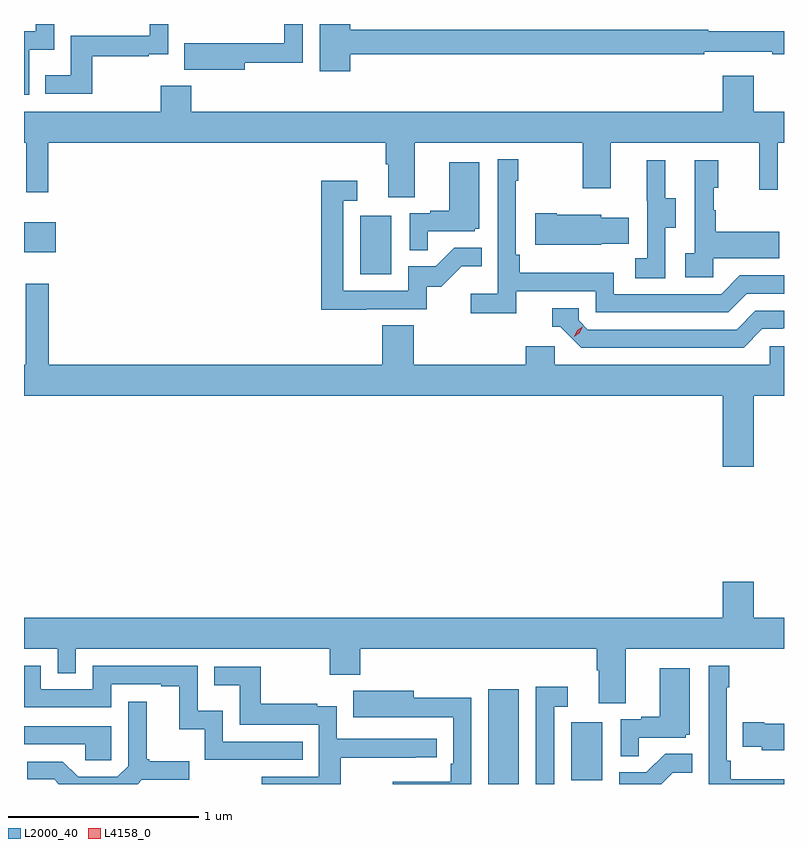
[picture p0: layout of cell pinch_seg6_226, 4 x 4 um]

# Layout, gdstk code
import gdstk
lib = gdstk.Library(unit=1e-6, precision=1e-09)
def R(c, l, rs):  # rectangles x0, y0, x1, y1
    for r in rs: c.add(gdstk.rectangle(r[:2], r[2:], *l))
def P(c, l, *ps):  # polygons
    for p in ps: c.add(gdstk.Polygon(p, *l))
L2000_40 = (2000, 40)
L4158_0 = (4158, 0)

pinch_seg6_226 = lib.new_cell('pinch_seg6_226')
R(pinch_seg6_226, L2000_40, [(1110.827,927.977,1110.988,928.477), (1111.262,927.996,1111.426,928.303), (1110.152,930.66,1110.316,930.967), (1108.383,930.776,1108.549,930.934)])
P(pinch_seg6_226, L2000_40, [(1109.545,931.774),(1109.85,931.774),(1109.85,931.977),(1109.754,931.977),(1109.754,931.875),(1109.441,931.875),(1109.441,931.876),(1109.227,931.876),(1109.227,931.736),(1109.545,931.736)],
  [(1108.41,931.841),(1108.542,931.841),(1108.542,931.977),(1108.446,931.977),(1108.446,931.939),(1108.383,931.939),(1108.383,931.605),(1108.41,931.605)],
  [(1108.741,931.806),(1109.039,931.806),(1109.039,931.817),(1109.142,931.817),(1109.142,931.977),(1109.046,931.977),(1109.046,931.914),(1108.63,931.914),(1108.63,931.708),(1108.495,931.708),(1108.495,931.611),(1108.741,931.611)],
  [(1110.1,931.818),(1111.964,931.818),(1111.964,931.83),(1112.32,931.83),(1112.32,931.818),(1112.383,931.818),(1112.383,931.939),(1111.985,931.939),(1111.985,931.946),(1110.1,931.946),(1110.1,931.977),(1109.939,931.977),(1109.939,931.728),(1110.1,931.728)],
  [(1110.439,931.352),(1111.324,931.352),(1111.324,931.113),(1111.471,931.113),(1111.471,931.352),(1112.252,931.352),(1112.252,931.104),(1112.349,931.104),(1112.349,931.352),(1112.383,931.352),(1112.383,931.516),(1112.224,931.516),(1112.224,931.705),(1112.06,931.705),(1112.06,931.516),(1109.264,931.516),(1109.264,931.651),(1109.104,931.651),(1109.104,931.516),(1108.383,931.516),(1108.383,931.352),(1108.395,931.352),(1108.395,931.092),(1108.511,931.092),(1108.511,931.352),(1110.287,931.352),(1110.287,931.24),(1110.299,931.24),(1110.299,931.066),(1110.439,931.066)],
  [(1110.974,930.57),(1111.392,930.57),(1111.392,930.459),(1112.089,930.459),(1112.188,930.558),(1112.383,930.558),(1112.383,930.654),(1112.151,930.654),(1112.052,930.555),(1111.488,930.555),(1111.488,930.667),(1110.992,930.667),(1110.992,930.763),(1110.972,930.763),(1110.972,931.151),(1110.985,931.151),(1110.985,931.264),(1110.876,931.264),(1110.876,930.556),(1110.735,930.556),(1110.735,930.454),(1110.974,930.454)],
  [(1112.01,930.743),(1112.357,930.743),(1112.357,930.883),(1112.023,930.883),(1112.023,930.998),(1112.013,930.998),(1112.013,931.116),(1112.038,931.116),(1112.038,931.261),(1111.914,931.261),(1111.914,930.77),(1111.863,930.77),(1111.863,930.645),(1112.01,930.645)],
  [(1111.758,930.904),(1111.813,930.904),(1111.813,931.059),(1111.759,931.059),(1111.759,931.261),(1111.661,931.261),(1111.661,931.047),(1111.662,931.047),(1111.662,930.743),(1111.599,930.743),(1111.599,930.64),(1111.758,930.64)],
  [(1110.509,930.885),(1110.756,930.885),(1110.756,930.9),(1110.778,930.9),(1110.778,931.249),(1110.62,931.249),(1110.62,930.994),(1110.521,930.994),(1110.521,930.981),(1110.414,930.981),(1110.414,930.787),(1110.509,930.787)],
  [(1110.185,930.477),(1110.504,930.477),(1110.504,930.594),(1110.58,930.594),(1110.687,930.701),(1110.791,930.701),(1110.791,930.8),(1110.647,930.8),(1110.549,930.702),(1110.405,930.702),(1110.405,930.573),(1110.063,930.573),(1110.063,931.047),(1110.136,931.047),(1110.136,931.153),(1109.947,931.153),(1109.947,930.472),(1110.185,930.472)],
  [(1111.422,930.821),(1111.565,930.821),(1111.565,930.958),(1111.422,930.958),(1111.422,930.973),(1111.186,930.973),(1111.186,930.981),(1111.074,930.981),(1111.074,930.815),(1111.422,930.815)],
  [(1112.224,930.02),(1112.383,930.02),(1112.383,930.282),(1112.307,930.282),(1112.307,930.184),(1111.176,930.184),(1111.176,930.282),(1111.025,930.282),(1111.025,930.184),(1110.434,930.184),(1110.434,930.392),(1110.269,930.392),(1110.269,930.184),(1108.514,930.184),(1108.514,930.61),(1108.391,930.61),(1108.391,930.184),(1108.383,930.184),(1108.383,930.02),(1112.06,930.02),(1112.06,929.646),(1112.224,929.646)],
  [(1112.269,930.372),(1112.376,930.372),(1112.376,930.375),(1112.383,930.375),(1112.383,930.468),(1112.232,930.468),(1112.133,930.369),(1111.35,930.369),(1111.302,930.417),(1111.302,930.48),(1111.163,930.48),(1111.163,930.384),(1111.206,930.384),(1111.317,930.273),(1112.17,930.273)],
  [(1111.549,928.688),(1112.383,928.688),(1112.383,928.852),(1112.224,928.852),(1112.224,929.041),(1112.06,929.041),(1112.06,928.852),(1108.383,928.852),(1108.383,928.688),(1108.56,928.688),(1108.56,928.561),(1108.656,928.561),(1108.656,928.688),(1109.992,928.688),(1109.992,928.553),(1110.152,928.553),(1110.152,928.688),(1111.397,928.688),(1111.397,928.576),(1111.409,928.576),(1111.409,928.402),(1111.549,928.402)],
  [(1112.383,928.003),(1112.102,928.003),(1112.102,928.099),(1112.082,928.099),(1112.082,928.487),(1112.095,928.487),(1112.095,928.6),(1111.986,928.6),(1111.986,927.977),(1112.383,927.977)],
  [(1109.849,928.2),(1109.43,928.2),(1109.43,928.363),(1109.298,928.363),(1109.298,928.599),(1108.746,928.599),(1108.746,928.476),(1108.47,928.476),(1108.47,928.599),(1108.383,928.599),(1108.383,928.38),(1108.842,928.38),(1108.842,928.503),(1109.105,928.503),(1109.105,928.491),(1109.201,928.491),(1109.201,928.265),(1109.334,928.265),(1109.334,928.104),(1109.849,928.104)],
  [(1110.05,928.114),(1110.443,928.114),(1110.443,928.119),(1110.556,928.119),(1110.556,928.215),(1110.03,928.215),(1110.03,928.387),(1109.927,928.387),(1109.927,928.399),(1109.629,928.399),(1109.629,928.593),(1109.383,928.593),(1109.383,928.496),(1109.518,928.496),(1109.518,928.29),(1109.934,928.29),(1109.934,928.014),(1109.633,928.014),(1109.633,927.977),(1110.05,927.977)],
  [(1111.619,928.221),(1111.866,928.221),(1111.866,928.236),(1111.888,928.236),(1111.888,928.585),(1111.73,928.585),(1111.73,928.33),(1111.631,928.33),(1111.631,928.317),(1111.524,928.317),(1111.524,928.123),(1111.619,928.123)],
  [(1111.173,928.383),(1111.246,928.383),(1111.246,928.489),(1111.077,928.489),(1111.077,927.977),(1111.173,927.977)],
  [(1110.738,928.43),(1110.433,928.43),(1110.433,928.468),(1110.115,928.468),(1110.115,928.328),(1110.329,928.328),(1110.329,928.329),(1110.642,928.329),(1110.642,928.084),(1110.629,928.084),(1110.629,927.988),(1110.324,927.988),(1110.324,927.977),(1110.738,927.977)],
  [(1109.004,927.999),(1109.254,927.999),(1109.254,928.096),(1109.041,928.096),(1109.041,928.108),(1109.029,928.108),(1109.029,928.411),(1108.932,928.411),(1108.932,928.071),(1108.875,928.014),(1108.669,928.014),(1108.588,928.095),(1108.401,928.095),(1108.401,928.002),(1108.542,928.002),(1108.567,927.977),(1108.982,927.977)],
  [(1112.383,928.294),(1112.278,928.294),(1112.278,928.302),(1112.167,928.302),(1112.167,928.172),(1112.265,928.172),(1112.265,928.154),(1112.383,928.154)],
  [(1108.842,928.281),(1108.383,928.281),(1108.383,928.185),(1108.705,928.185),(1108.705,928.101),(1108.842,928.101)],
  [(1111.797,928.037),(1111.901,928.037),(1111.901,928.136),(1111.757,928.136),(1111.659,928.038),(1111.515,928.038),(1111.515,927.977),(1111.737,927.977)])
P(pinch_seg6_226, L4158_0, [(1111.278,930.332),(1111.278,930.332),(1111.294,930.365),(1111.325,930.384),(1111.325,930.384),(1111.325,930.383),(1111.309,930.351),(1111.278,930.332)])

lib.write_gds('pinch_seg6_226.gds')
